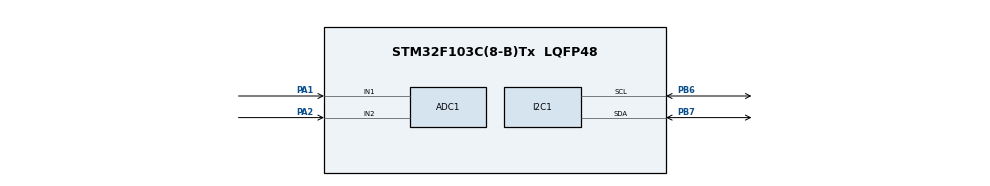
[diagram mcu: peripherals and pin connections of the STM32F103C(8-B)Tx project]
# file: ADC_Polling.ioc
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ADC1.Channel-0\#ChannelRegularConversion=ADC_CHANNEL_1
ADC1.Channel-2\#ChannelRegularConversion=ADC_CHANNEL_2
ADC1.ContinuousConvMode=ENABLE
ADC1.NbrOfConversion=2
ADC1.NbrOfConversionFlag=1
ADC1.Rank-0\#ChannelRegularConversion=1
ADC1.Rank-2\#ChannelRegularConversion=2
ADC1.SamplingTime-0\#ChannelRegularConversion=ADC_SAMPLETIME_239CYCLES_5
ADC1.SamplingTime-2\#ChannelRegularConversion=ADC_SAMPLETIME_239CYCLES_5
ADC1.master=1
Mcu.Family=STM32F1
Mcu.Name=STM32F103C(8-B)Tx
Mcu.Package=LQFP48
NVIC.ADC1_2_IRQn=true\:0\:0\:false\:false\:true\:true\:true\:true
NVIC.I2C1_EV_IRQn=true\:0\:0\:false\:false\:true\:true\:true\:true
NVIC.PriorityGroup=NVIC_PRIORITYGROUP_4
PA1.Signal=ADCx_IN1
PA13.Mode=Serial_Wire
PA13.Signal=SYS_JTMS-SWDIO
PA14.Mode=Serial_Wire
PA14.Signal=SYS_JTCK-SWCLK
PA2.Signal=ADCx_IN2
PB6.Mode=I2C
PB6.Signal=I2C1_SCL
PB7.Mode=I2C
PB7.Signal=I2C1_SDA
PC14-OSC32_IN.Mode=LSE-External-Oscillator
PC14-OSC32_IN.Signal=RCC_OSC32_IN
PC15-OSC32_OUT.Mode=LSE-External-Oscillator
PC15-OSC32_OUT.Signal=RCC_OSC32_OUT
PD0-OSC_IN.Mode=HSE-External-Oscillator
PD0-OSC_IN.Signal=RCC_OSC_IN
PD1-OSC_OUT.Mode=HSE-External-Oscillator
PD1-OSC_OUT.Signal=RCC_OSC_OUT
ProjectManager.HeapSize=0x200
ProjectManager.StackSize=0x400
ProjectManager.TargetToolchain=MDK-ARM V5.32
RCC.APB1Freq_Value=8000000
RCC.APB2Freq_Value=8000000
SH.ADCx_IN1.0=ADC1_IN1,IN1
SH.ADCx_IN2.0=ADC1_IN2,IN2
board=custom

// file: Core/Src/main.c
/* USER CODE BEGIN Header */
/**
  ******************************************************************************
  * @file           : main.c
  * @brief          : Main program body
  ******************************************************************************
  * @attention
  *
  * Copyright (c) 2022 STMicroelectronics.
  * All rights reserved.
  *
  * This software is licensed under terms that can be found in the LICENSE file
  * in the root directory of this software component.
  * If no LICENSE file comes with this software, it is provided AS-IS.
  *
  ******************************************************************************
  */
/* USER CODE END Header */
#include "main.h"

/* USER CODE BEGIN Includes */
#include "i2c-lcd.h"
/* USER CODE END Includes */

 ADC_HandleTypeDef hadc1;

I2C_HandleTypeDef hi2c1;

void SystemClock_Config(void);
static void MX_GPIO_Init(void);
static void MX_ADC1_Init(void);
static void MX_I2C1_Init(void);

/* USER CODE BEGIN 0 */
	uint16_t adc_value1 = 0;
	float Vin1 = 0;
	uint16_t adc_value2 = 0;
	float Vin2 = 0;
/* USER CODE END 0 */

int main(void)
{

  /* MCU Configuration--------------------------------------------------------*/

  /* Reset of all peripherals, Initializes the Flash interface and the Systick. */
  HAL_Init();

  /* Configure the system clock */
  SystemClock_Config();

  /* Initialize all configured peripherals */
  MX_GPIO_Init();
  MX_ADC1_Init();
  MX_I2C1_Init();
  /* USER CODE BEGIN 2 */
	lcd_init();
  /* USER CODE END 2 */

  /* Infinite loop */
  while (1)
  {

    /* USER CODE BEGIN 3 */
		HAL_ADC_Start(&hadc1);
		HAL_ADC_PollForConversion(&hadc1, 300);
		adc_value1 = HAL_ADC_GetValue(&hadc1);
		Vin1 = (float)(adc_value1/4095.00)*3.3;
		HAL_ADC_PollForConversion(&hadc1, 300);
		adc_value2 = HAL_ADC_GetValue(&hadc1);
		Vin2 = (float)(adc_value2/4095.00)*3.3;
		lcd_put_cur(0,0);
		lcd_send_string("Value1: ");
		lcd_send_data((adc_value1/100) + 48);
		lcd_send_data(((adc_value1/10)%10) + 48);
		lcd_send_data((adc_value1%10) + 48);
		lcd_send_cmd(0x80|0x40);
		lcd_send_string("Vin: ");
		lcd_send_data(((int)Vin1%10) + 48);
		lcd_send_string(".");
		lcd_send_data((int)(Vin1*10)%10 + 48);
		lcd_send_data((int)(Vin1*100)%10 + 48);
		HAL_ADC_Stop(&hadc1);
  }
  /* USER CODE END 3 */
}

void SystemClock_Config(void)
{
  RCC_OscInitTypeDef RCC_OscInitStruct = {0};
  RCC_ClkInitTypeDef RCC_ClkInitStruct = {0};
  RCC_PeriphCLKInitTypeDef PeriphClkInit = {0};

  /** Initializes the RCC Oscillators according to the specified parameters
  * in the RCC_OscInitTypeDef structure.
  */
  RCC_OscInitStruct.OscillatorType = RCC_OSCILLATORTYPE_HSI;
  RCC_OscInitStruct.HSIState = RCC_HSI_ON;
  RCC_OscInitStruct.HSICalibrationValue = RCC_HSICALIBRATION_DEFAULT;
  RCC_OscInitStruct.PLL.PLLState = RCC_PLL_NONE;
  if (HAL_RCC_OscConfig(&RCC_OscInitStruct) != HAL_OK)
  {
    Error_Handler();
  }

  /** Initializes the CPU, AHB and APB buses clocks
  */
  RCC_ClkInitStruct.ClockType = RCC_CLOCKTYPE_HCLK|RCC_CLOCKTYPE_SYSCLK
                              |RCC_CLOCKTYPE_PCLK1|RCC_CLOCKTYPE_PCLK2;
  RCC_ClkInitStruct.SYSCLKSource = RCC_SYSCLKSOURCE_HSI;
  RCC_ClkInitStruct.AHBCLKDivider = RCC_SYSCLK_DIV1;
  RCC_ClkInitStruct.APB1CLKDivider = RCC_HCLK_DIV1;
  RCC_ClkInitStruct.APB2CLKDivider = RCC_HCLK_DIV1;

  if (HAL_RCC_ClockConfig(&RCC_ClkInitStruct, FLASH_LATENCY_0) != HAL_OK)
  {
    Error_Handler();
  }
  PeriphClkInit.PeriphClockSelection = RCC_PERIPHCLK_ADC;
  PeriphClkInit.AdcClockSelection = RCC_ADCPCLK2_DIV2;
  if (HAL_RCCEx_PeriphCLKConfig(&PeriphClkInit) != HAL_OK)
  {
    Error_Handler();
  }
}

static void MX_ADC1_Init(void)
{

  ADC_ChannelConfTypeDef sConfig = {0};

  /** Common config
  */
  hadc1.Instance = ADC1;
  hadc1.Init.ScanConvMode = ADC_SCAN_ENABLE;
  hadc1.Init.ContinuousConvMode = ENABLE;
  hadc1.Init.DiscontinuousConvMode = DISABLE;
  hadc1.Init.ExternalTrigConv = ADC_SOFTWARE_START;
  hadc1.Init.DataAlign = ADC_DATAALIGN_RIGHT;
  hadc1.Init.NbrOfConversion = 2;
  if (HAL_ADC_Init(&hadc1) != HAL_OK)
  {
    Error_Handler();
  }

  /** Configure Regular Channel
  */
  sConfig.Channel = ADC_CHANNEL_1;
  sConfig.Rank = ADC_REGULAR_RANK_1;
  sConfig.SamplingTime = ADC_SAMPLETIME_239CYCLES_5;
  if (HAL_ADC_ConfigChannel(&hadc1, &sConfig) != HAL_OK)
  {
    Error_Handler();
  }

  /** Configure Regular Channel
  */
  sConfig.Channel = ADC_CHANNEL_2;
  sConfig.Rank = ADC_REGULAR_RANK_2;
  if (HAL_ADC_ConfigChannel(&hadc1, &sConfig) != HAL_OK)
  {
    Error_Handler();
  }

}

static void MX_I2C1_Init(void)
{

  hi2c1.Instance = I2C1;
  hi2c1.Init.ClockSpeed = 100000;
  hi2c1.Init.DutyCycle = I2C_DUTYCYCLE_2;
  hi2c1.Init.OwnAddress1 = 0;
  hi2c1.Init.AddressingMode = I2C_ADDRESSINGMODE_7BIT;
  hi2c1.Init.DualAddressMode = I2C_DUALADDRESS_DISABLE;
  hi2c1.Init.OwnAddress2 = 0;
  hi2c1.Init.GeneralCallMode = I2C_GENERALCALL_DISABLE;
  hi2c1.Init.NoStretchMode = I2C_NOSTRETCH_DISABLE;
  if (HAL_I2C_Init(&hi2c1) != HAL_OK)
  {
    Error_Handler();
  }

}

static void MX_GPIO_Init(void)
{

  /* GPIO Ports Clock Enable */
  __HAL_RCC_GPIOC_CLK_ENABLE();
  __HAL_RCC_GPIOD_CLK_ENABLE();
  __HAL_RCC_GPIOA_CLK_ENABLE();
  __HAL_RCC_GPIOB_CLK_ENABLE();

}

void Error_Handler(void)
{
  __disable_irq();
  while (1)
  {
  }
}
